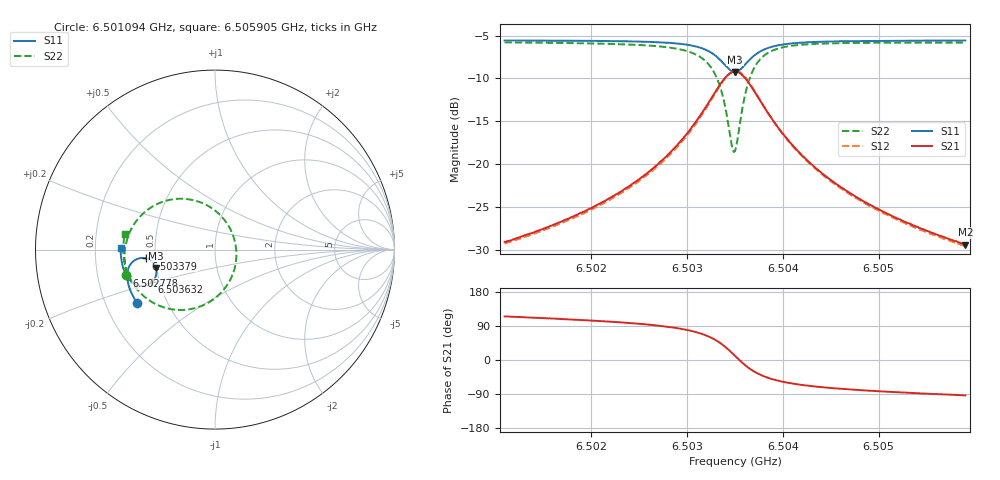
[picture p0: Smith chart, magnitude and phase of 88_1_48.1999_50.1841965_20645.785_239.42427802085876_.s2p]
#  HZ  S  RI  R  50.00
! Rohde & Schwarz Vector Network Analyzer
! Rohde-Schwarz,ZNB20-2Port,1311601062101988,3.16
! Created: UTC 3/20/2024, 11:39:58 AM
! freq[Hz]  re:S11  im:S11  re:S21  im:S21  re:S12  im:S12  re:S22  im:S22
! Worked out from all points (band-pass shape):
!   401 points, 6.501094 GHz to 6.505905 GHz, reference 50 ohm
!   highest |S21| = -9.20 dB at 6.5035 GHz (marker M1); lowest = -29.4 dB at 6.505905 GHz (marker M2)
!   |S21| within 3 dB of the highest: 6.503259 GHz to 6.50374 GHz (480.8 kHz wide, 0.00739 % of centre)
!   lowest |S11| = -9.2 dB at 6.5035 GHz (marker M3), VSWR 2.05, Z = 24.8 - j5.74 ohm
!   |S11| at or under -10 dB: nowhere
!   |S22| runs from -18.6 to -5.8 dB; largest |S21 - S12| = 0.012
!   S11 on the Smith chart (normalised r, x): 6.501094 GHz: 0.34, -0.28; 6.502778 GHz: 0.33, -0.13; 6.503379 GHz: 0.44, -0.05; 6.503632 GHz: 0.45, -0.19; 6.505905 GHz: 0.31, +0.01
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6.5010941e9  -0.4328 -0.2999  -0.0149 0.0319  -0.0131 0.0318  -0.4938 -0.1399
6.5019e9  -0.4665 -0.2389  -0.0139 0.0502  -0.0115 0.0496  -0.5045 -0.0516
6.502309e9  -0.4805 -0.2021  -0.0111 0.0682  -0.00805 0.0672  -0.5005 0.00832
6.5027059e9  -0.4894 -0.1571  -0.000925 0.1014  0.00287 0.0988  -0.4778 0.0906
6.5027781e9  -0.4897 -0.1471  0.00319 0.1102  0.00693 0.1074  -0.4687 0.1105
6.5029825e9  -0.4858 -0.1135  0.0252 0.1447  0.0288 0.1403  -0.4228 0.1785
6.5031389e9  -0.4705 -0.0812  0.0657 0.1815  0.0685 0.1755  -0.3438 0.2427
6.5032833e9  -0.4316 -0.0516  0.1495 0.2104  0.1501 0.204  -0.1909 0.2834
6.5033795e9  -0.3839 -0.0491  0.243 0.1929  0.2431 0.1882  -0.0289 0.2379
6.5034637e9  -0.3403 -0.0794  0.3227 0.1159  0.3253 0.1116  0.0982 0.086
6.5034998e9  -0.3294 -0.102  0.3404 0.066  0.344 0.0604  0.1188 -0.00831
6.5035238e9  -0.3264 -0.1187  0.3436 0.0304  0.3476 0.0236  0.1157 -0.0734
6.5035599e9  -0.3286 -0.1434  0.3357 -0.0208  0.3393 -0.03  0.0869 -0.1644
6.5036321e9  -0.3515 -0.1813  0.2876 -0.0985  0.2875 -0.1103  -0.0271 -0.2895
6.5036802e9  -0.3726 -0.1951  0.2465 -0.1276  0.2435 -0.1392  -0.1131 -0.3264
6.5037403e9  -0.398 -0.2019  0.1983 -0.1442  0.193 -0.1543  -0.2076 -0.3361
6.5038967e9  -0.4461 -0.1925  0.1127 -0.1398  0.1055 -0.145  -0.3616 -0.2857
6.5040651e9  -0.4742 -0.1711  0.0663 -0.1182  0.0599 -0.1205  -0.4365 -0.2177
6.5043057e9  -0.4955 -0.1414  0.0353 -0.0924  0.0303 -0.0929  -0.4812 -0.1431
6.5046785e9  -0.5116 -0.1015  0.0151 -0.0673  0.0117 -0.0669  -0.5047 -0.0646
6.5051116e9  -0.5207 -0.0608  0.00516 -0.0504  0.00298 -0.0496  -0.5108 -0.000765
6.5059054e9  -0.526 0.00718  -0.00198 -0.0339  -0.00328 -0.033  -0.5036 0.0858
